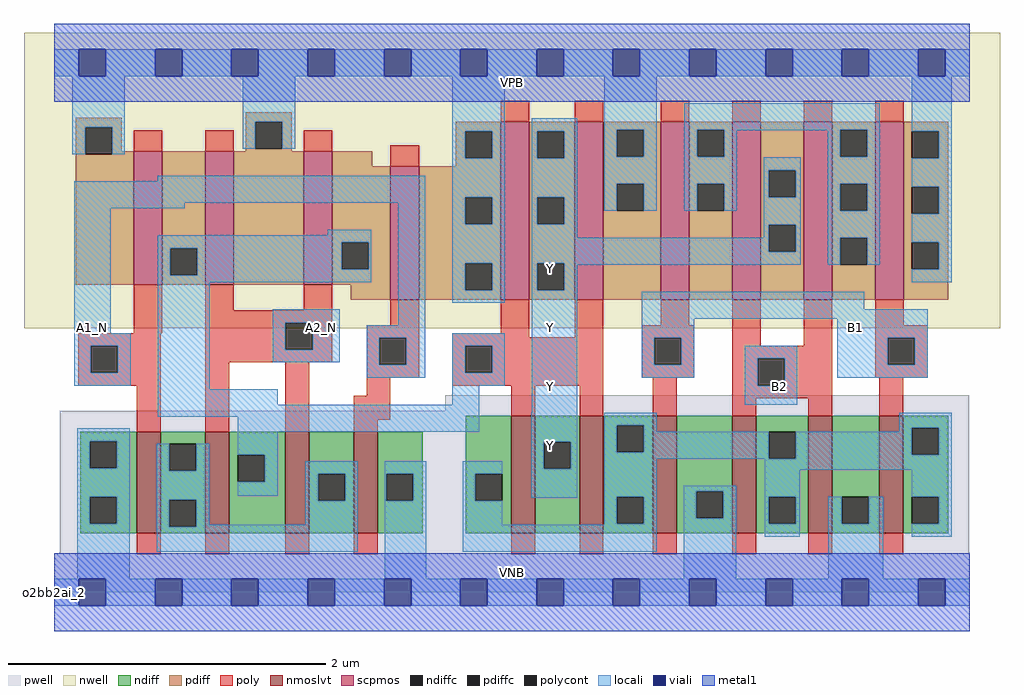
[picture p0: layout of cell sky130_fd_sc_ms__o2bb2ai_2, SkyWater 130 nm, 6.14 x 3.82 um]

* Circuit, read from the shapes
.subckt sky130_fd_sc_ms__o2bb2ai_2 A1_N A2_N B1 B2 VGND VNB VPB VPWR Y
XM1 n1 A1_N VGND VNB sky130_fd_pr__nfet_01v8_lvt w=0.64 l=0.15 m=2
XM2 n2 A2_N n1 VNB sky130_fd_pr__nfet_01v8_lvt w=0.64 l=0.15 m=2
XM3 Y n2 n3 VNB sky130_fd_pr__nfet_01v8_lvt w=0.74 l=0.15 m=2
XM4 VGND B1 n3 VNB sky130_fd_pr__nfet_01v8_lvt w=0.74 l=0.15 m=2
XM5 n3 B2 VGND VNB sky130_fd_pr__nfet_01v8_lvt w=0.74 l=0.15 m=2
XM6 n2 A1_N VPWR VPB sky130_fd_pr__pfet_01v8 w=0.84 l=0.18 m=2
XM7 VPWR A2_N n2 VPB sky130_fd_pr__pfet_01v8 w=0.84 l=0.18 m=2
XM8 Y n2 VPWR VPB sky130_fd_pr__pfet_01v8 w=1.12 l=0.18 m=2
XM9 n4 B1 VPWR VPB sky130_fd_pr__pfet_01v8 w=1.12 l=0.18 m=2
XM10 Y B2 n4 VPB sky130_fd_pr__pfet_01v8 w=1.12 l=0.18 m=2
.ends

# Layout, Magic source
magic
tech sky130A
magscale 1 2
<< nwell >>
rect -38 332 1190 704
<< pwell >>
rect 492 228 1151 248
rect 7 49 1151 228
rect 0 0 1152 49
<< scpmos >>
rect 100 387 136 555
rect 190 387 226 555
rect 314 387 350 555
rect 423 368 459 536
rect 562 368 598 592
rect 655 368 691 592
rect 763 368 799 592
rect 853 368 889 592
rect 943 368 979 592
rect 1033 368 1069 592
<< nmoslvt >>
rect 104 74 134 202
rect 190 74 220 202
rect 291 74 321 202
rect 377 74 407 202
rect 575 74 605 222
rect 661 74 691 222
rect 753 74 783 222
rect 853 74 883 222
rect 949 74 979 222
rect 1038 74 1068 222
<< ndiff >>
rect 33 190 104 202
rect 33 156 45 190
rect 79 156 104 190
rect 33 120 104 156
rect 33 86 45 120
rect 79 86 104 120
rect 33 74 104 86
rect 134 187 190 202
rect 134 153 145 187
rect 179 153 190 187
rect 134 116 190 153
rect 134 82 145 116
rect 179 82 190 116
rect 134 74 190 82
rect 220 173 291 202
rect 220 139 231 173
rect 265 139 291 173
rect 220 74 291 139
rect 321 149 377 202
rect 321 115 332 149
rect 366 115 377 149
rect 321 74 377 115
rect 407 149 464 202
rect 407 115 418 149
rect 452 115 464 149
rect 407 74 464 115
rect 518 149 575 222
rect 518 115 530 149
rect 564 115 575 149
rect 518 74 575 115
rect 605 189 661 222
rect 605 155 616 189
rect 650 155 661 189
rect 605 74 661 155
rect 691 210 753 222
rect 691 176 708 210
rect 742 176 753 210
rect 691 120 753 176
rect 691 86 708 120
rect 742 86 753 120
rect 691 74 753 86
rect 783 127 853 222
rect 783 93 808 127
rect 842 93 853 127
rect 783 74 853 93
rect 883 202 949 222
rect 883 168 899 202
rect 933 168 949 202
rect 883 120 949 168
rect 883 86 899 120
rect 933 86 949 120
rect 883 74 949 86
rect 979 120 1038 222
rect 979 86 991 120
rect 1025 86 1038 120
rect 979 74 1038 86
rect 1068 207 1125 222
rect 1068 173 1079 207
rect 1113 173 1125 207
rect 1068 120 1125 173
rect 1068 86 1079 120
rect 1113 86 1125 120
rect 1068 74 1125 86
<< pdiff >>
rect 27 585 85 597
rect 27 551 39 585
rect 73 555 85 585
rect 241 592 299 604
rect 241 558 253 592
rect 287 558 299 592
rect 241 555 299 558
rect 505 580 562 592
rect 73 551 100 555
rect 27 387 100 551
rect 136 433 190 555
rect 136 399 146 433
rect 180 399 190 433
rect 136 387 190 399
rect 226 387 314 555
rect 350 536 400 555
rect 505 546 517 580
rect 551 546 562 580
rect 505 536 562 546
rect 350 440 423 536
rect 350 406 362 440
rect 396 406 423 440
rect 350 387 423 406
rect 373 368 423 387
rect 459 497 562 536
rect 459 463 517 497
rect 551 463 562 497
rect 459 414 562 463
rect 459 380 517 414
rect 551 380 562 414
rect 459 368 562 380
rect 598 580 655 592
rect 598 546 608 580
rect 642 546 655 580
rect 598 497 655 546
rect 598 463 608 497
rect 642 463 655 497
rect 598 414 655 463
rect 598 380 608 414
rect 642 380 655 414
rect 598 368 655 380
rect 691 582 763 592
rect 691 548 708 582
rect 742 548 763 582
rect 691 514 763 548
rect 691 480 708 514
rect 742 480 763 514
rect 691 368 763 480
rect 799 582 853 592
rect 799 548 809 582
rect 843 548 853 582
rect 799 514 853 548
rect 799 480 809 514
rect 843 480 853 514
rect 799 368 853 480
rect 889 531 943 592
rect 889 497 899 531
rect 933 497 943 531
rect 889 462 943 497
rect 889 428 899 462
rect 933 428 943 462
rect 889 368 943 428
rect 979 582 1033 592
rect 979 548 989 582
rect 1023 548 1033 582
rect 979 514 1033 548
rect 979 480 989 514
rect 1023 480 1033 514
rect 979 446 1033 480
rect 979 412 989 446
rect 1023 412 1033 446
rect 979 368 1033 412
rect 1069 580 1125 592
rect 1069 546 1079 580
rect 1113 546 1125 580
rect 1069 510 1125 546
rect 1069 476 1079 510
rect 1113 476 1125 510
rect 1069 440 1125 476
rect 1069 406 1079 440
rect 1113 406 1125 440
rect 1069 368 1125 406
<< ndiffc >>
rect 45 156 79 190
rect 45 86 79 120
rect 145 153 179 187
rect 145 82 179 116
rect 231 139 265 173
rect 332 115 366 149
rect 418 115 452 149
rect 530 115 564 149
rect 616 155 650 189
rect 708 176 742 210
rect 708 86 742 120
rect 808 93 842 127
rect 899 168 933 202
rect 899 86 933 120
rect 991 86 1025 120
rect 1079 173 1113 207
rect 1079 86 1113 120
<< pdiffc >>
rect 39 551 73 585
rect 253 558 287 592
rect 146 399 180 433
rect 517 546 551 580
rect 362 406 396 440
rect 517 463 551 497
rect 517 380 551 414
rect 608 546 642 580
rect 608 463 642 497
rect 608 380 642 414
rect 708 548 742 582
rect 708 480 742 514
rect 809 548 843 582
rect 809 480 843 514
rect 899 497 933 531
rect 899 428 933 462
rect 989 548 1023 582
rect 989 480 1023 514
rect 989 412 1023 446
rect 1079 546 1113 580
rect 1079 476 1113 510
rect 1079 406 1113 440
<< poly >>
rect 562 592 598 618
rect 655 592 691 618
rect 763 592 799 618
rect 853 592 889 618
rect 943 592 979 618
rect 1033 592 1069 618
rect 100 555 136 581
rect 190 555 226 581
rect 314 555 350 581
rect 423 536 459 562
rect 100 326 136 387
rect 190 355 226 387
rect 314 355 350 387
rect 190 339 350 355
rect 30 310 134 326
rect 30 276 46 310
rect 80 276 134 310
rect 30 260 134 276
rect 104 202 134 260
rect 190 305 291 339
rect 325 305 350 339
rect 423 336 459 368
rect 190 289 350 305
rect 393 320 459 336
rect 562 326 598 368
rect 190 202 220 289
rect 291 202 321 289
rect 393 286 409 320
rect 443 286 459 320
rect 393 270 459 286
rect 501 321 598 326
rect 655 321 691 368
rect 763 336 799 368
rect 501 310 691 321
rect 501 276 517 310
rect 551 276 691 310
rect 393 247 423 270
rect 501 260 691 276
rect 739 320 805 336
rect 739 286 755 320
rect 789 286 805 320
rect 739 270 805 286
rect 853 310 889 368
rect 943 310 979 368
rect 853 294 979 310
rect 377 217 423 247
rect 575 222 605 260
rect 661 222 691 260
rect 753 222 783 270
rect 853 260 885 294
rect 919 260 979 294
rect 1033 336 1069 368
rect 1033 320 1099 336
rect 1033 286 1049 320
rect 1083 286 1099 320
rect 1033 270 1099 286
rect 853 244 979 260
rect 853 222 883 244
rect 949 222 979 244
rect 1038 222 1068 270
rect 377 202 407 217
rect 104 48 134 74
rect 190 48 220 74
rect 291 48 321 74
rect 377 48 407 74
rect 575 48 605 74
rect 661 48 691 74
rect 753 48 783 74
rect 853 48 883 74
rect 949 48 979 74
rect 1038 48 1068 74
<< polycont >>
rect 46 276 80 310
rect 291 305 325 339
rect 409 286 443 320
rect 517 276 551 310
rect 755 286 789 320
rect 885 260 919 294
rect 1049 286 1083 320
<< locali >>
rect 0 649 31 683
rect 65 649 127 683
rect 161 649 223 683
rect 257 649 319 683
rect 353 649 415 683
rect 449 649 511 683
rect 545 649 607 683
rect 641 649 703 683
rect 737 649 799 683
rect 833 649 895 683
rect 929 649 991 683
rect 1025 649 1087 683
rect 1121 649 1152 683
rect 23 585 89 649
rect 23 551 39 585
rect 73 551 89 585
rect 237 592 303 649
rect 237 558 253 592
rect 287 558 303 592
rect 501 580 567 649
rect 501 546 517 580
rect 551 546 567 580
rect 130 517 467 524
rect 25 490 467 517
rect 25 483 164 490
rect 25 326 71 483
rect 344 449 399 456
rect 130 440 399 449
rect 130 433 362 440
rect 130 399 146 433
rect 180 406 362 433
rect 396 406 399 440
rect 180 399 399 406
rect 130 390 399 399
rect 25 310 96 326
rect 25 276 46 310
rect 80 276 96 310
rect 25 260 96 276
rect 130 255 196 390
rect 275 339 359 356
rect 275 305 291 339
rect 325 305 359 339
rect 433 336 467 490
rect 501 497 567 546
rect 501 463 517 497
rect 551 463 567 497
rect 501 414 567 463
rect 501 380 517 414
rect 551 380 567 414
rect 501 364 567 380
rect 601 580 658 596
rect 601 546 608 580
rect 642 546 658 580
rect 601 497 658 546
rect 601 463 608 497
rect 642 463 658 497
rect 692 582 758 649
rect 692 548 708 582
rect 742 548 758 582
rect 692 514 758 548
rect 692 480 708 514
rect 742 480 758 514
rect 793 582 1039 615
rect 793 548 809 582
rect 843 581 989 582
rect 843 548 859 581
rect 793 514 859 548
rect 973 548 989 581
rect 1023 548 1039 582
rect 793 480 809 514
rect 843 480 859 514
rect 893 531 939 547
rect 893 497 899 531
rect 933 497 939 531
rect 601 446 658 463
rect 893 462 939 497
rect 893 446 899 462
rect 601 428 899 446
rect 933 428 939 462
rect 601 414 939 428
rect 601 380 608 414
rect 642 412 939 414
rect 973 514 1039 548
rect 973 480 989 514
rect 1023 480 1039 514
rect 973 446 1039 480
rect 973 412 989 446
rect 1023 412 1039 446
rect 1079 580 1129 649
rect 1113 546 1129 580
rect 1079 510 1129 546
rect 1113 476 1129 510
rect 1079 440 1129 476
rect 642 380 658 412
rect 1113 406 1129 440
rect 1079 390 1129 406
rect 275 289 359 305
rect 393 320 467 336
rect 393 286 409 320
rect 443 286 467 320
rect 393 270 467 286
rect 501 310 567 326
rect 501 276 517 310
rect 551 276 567 310
rect 501 260 567 276
rect 130 236 281 255
rect 501 236 535 260
rect 130 221 535 236
rect 601 226 658 380
rect 739 356 1019 378
rect 739 344 1099 356
rect 739 320 805 344
rect 739 286 755 320
rect 789 286 805 320
rect 985 320 1099 344
rect 739 270 805 286
rect 869 294 935 310
rect 869 260 885 294
rect 919 260 935 294
rect 985 286 1049 320
rect 1083 286 1099 320
rect 985 270 1099 286
rect 869 236 935 260
rect 29 190 95 206
rect 29 156 45 190
rect 79 156 95 190
rect 231 202 535 221
rect 29 120 95 156
rect 29 86 45 120
rect 79 86 95 120
rect 29 17 95 86
rect 129 153 145 187
rect 179 153 195 187
rect 129 116 195 153
rect 231 173 281 202
rect 265 139 281 173
rect 600 189 658 226
rect 231 121 281 139
rect 316 149 382 165
rect 129 82 145 116
rect 179 85 195 116
rect 316 115 332 149
rect 366 115 382 149
rect 316 85 382 115
rect 179 82 382 85
rect 129 51 382 82
rect 416 149 468 165
rect 416 115 418 149
rect 452 115 468 149
rect 416 17 468 115
rect 514 149 564 165
rect 514 115 530 149
rect 600 155 616 189
rect 650 155 658 189
rect 600 119 658 155
rect 692 210 758 226
rect 692 176 708 210
rect 742 202 758 210
rect 1063 207 1129 226
rect 1063 202 1079 207
rect 742 176 899 202
rect 692 168 899 176
rect 933 173 1079 202
rect 1113 173 1129 207
rect 933 168 1129 173
rect 692 120 758 168
rect 894 154 1129 168
rect 514 85 564 115
rect 692 86 708 120
rect 742 86 758 120
rect 692 85 758 86
rect 514 51 758 85
rect 792 127 858 134
rect 792 93 808 127
rect 842 93 858 127
rect 792 17 858 93
rect 894 120 938 154
rect 1079 120 1129 154
rect 894 86 899 120
rect 933 86 938 120
rect 894 70 938 86
rect 974 86 991 120
rect 1025 86 1043 120
rect 974 17 1043 86
rect 1113 86 1129 120
rect 1079 70 1129 86
rect 0 -17 31 17
rect 65 -17 127 17
rect 161 -17 223 17
rect 257 -17 319 17
rect 353 -17 415 17
rect 449 -17 511 17
rect 545 -17 607 17
rect 641 -17 703 17
rect 737 -17 799 17
rect 833 -17 895 17
rect 929 -17 991 17
rect 1025 -17 1087 17
rect 1121 -17 1152 17
<< viali >>
rect 31 649 65 683
rect 127 649 161 683
rect 223 649 257 683
rect 319 649 353 683
rect 415 649 449 683
rect 511 649 545 683
rect 607 649 641 683
rect 703 649 737 683
rect 799 649 833 683
rect 895 649 929 683
rect 991 649 1025 683
rect 1087 649 1121 683
rect 31 -17 65 17
rect 127 -17 161 17
rect 223 -17 257 17
rect 319 -17 353 17
rect 415 -17 449 17
rect 511 -17 545 17
rect 607 -17 641 17
rect 703 -17 737 17
rect 799 -17 833 17
rect 895 -17 929 17
rect 991 -17 1025 17
rect 1087 -17 1121 17
<< metal1 >>
rect 0 683 1152 715
rect 0 649 31 683
rect 65 649 127 683
rect 161 649 223 683
rect 257 649 319 683
rect 353 649 415 683
rect 449 649 511 683
rect 545 649 607 683
rect 641 649 703 683
rect 737 649 799 683
rect 833 649 895 683
rect 929 649 991 683
rect 1025 649 1087 683
rect 1121 649 1152 683
rect 0 617 1152 649
rect 0 17 1152 49
rect 0 -17 31 17
rect 65 -17 127 17
rect 161 -17 223 17
rect 257 -17 319 17
rect 353 -17 415 17
rect 449 -17 511 17
rect 545 -17 607 17
rect 641 -17 703 17
rect 737 -17 799 17
rect 833 -17 895 17
rect 929 -17 991 17
rect 1025 -17 1087 17
rect 1121 -17 1152 17
rect 0 -49 1152 -17
<< labels >>
flabel pwell s 0 0 1152 49 0 FreeSans 200 0 0 0 VNB
port 6 nsew ground bidirectional
flabel nwell s 0 617 1152 666 0 FreeSans 200 0 0 0 VPB
port 7 nsew power bidirectional
rlabel comment s 0 0 0 0 4 o2bb2ai_2
flabel metal1 s 0 617 1152 666 0 FreeSans 340 0 0 0 VPWR
port 8 nsew power bidirectional
flabel metal1 s 0 0 1152 49 0 FreeSans 340 0 0 0 VGND
port 5 nsew ground bidirectional
flabel locali s 895 242 929 276 0 FreeSans 340 0 0 0 B2
port 4 nsew signal input
flabel locali s 319 316 353 350 0 FreeSans 340 0 0 0 A2_N
port 2 nsew signal input
flabel locali s 607 168 641 202 0 FreeSans 340 0 0 0 Y
port 9 nsew signal output
flabel locali s 607 242 641 276 0 FreeSans 340 0 0 0 Y
port 9 nsew signal output
flabel locali s 607 316 641 350 0 FreeSans 340 0 0 0 Y
port 9 nsew signal output
flabel locali s 607 390 641 424 0 FreeSans 340 0 0 0 Y
port 9 nsew signal output
flabel locali s 991 316 1025 350 0 FreeSans 340 0 0 0 B1
port 3 nsew signal input
flabel locali s 31 316 65 350 0 FreeSans 340 0 0 0 A1_N
port 1 nsew signal input
<< properties >>
string LEFsite unit
string LEFclass CORE
string FIXED_BBOX 0 0 1152 666
string GDS_FILE $PDKPATH/libs.ref/sky130_fd_sc_ms/gds/sky130_fd_sc_ms.gds
string LEFsymmetry X Y
string GDS_END 2911006
string GDS_START 2901466
<< end >>
